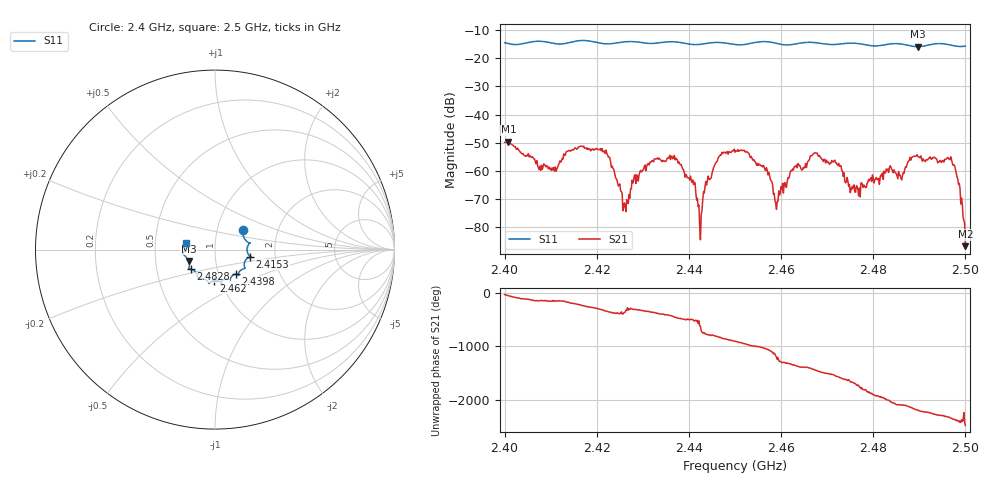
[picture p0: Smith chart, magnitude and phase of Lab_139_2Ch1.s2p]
# Hz S RI R 50
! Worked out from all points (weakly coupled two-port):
!   601 points, 2.4 GHz to 2.5 GHz, reference 50 ohm
!   highest |S21| = -49.60 dB at 2.4008 GHz (marker M1); lowest = -86.7 dB at 2.5 GHz (marker M2)
!   lowest |S11| = -15.9 dB at 2.4897 GHz (marker M3), VSWR 1.38, Z = 36.9 - j4.82 ohm
!   |S11| at or under -10 dB: start of sweep to end of sweep
!   S12 and S22 are empty: the file has one direction only
!   S11 on the Smith chart (normalised r, x): 2.4 GHz: 1.33, +0.30; 2.4153 GHz: 1.48, -0.12; 2.4398 GHz: 1.21, -0.34; 2.462 GHz: 0.93, -0.33; 2.4828 GHz: 0.74, -0.17; 2.5 GHz: 0.72, +0.06
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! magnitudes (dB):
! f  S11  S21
! 2.4 GHz  -14.5  -49.9
! 2.4008 GHz  -14.8  -49.6
! 2.4103 GHz  -14.7  -58.9
! 2.4153 GHz  -14.0  -51.8
! 2.4167 GHz  -13.7  -51.2
! 2.4223 GHz  -14.9  -54.3
! 2.4262 GHz  -14.2  -72.5
! 2.4333 GHz  -14.6  -55.9
! 2.4398 GHz  -15.0  -62.5
! 2.4425 GHz  -15.1  -84.4
! 2.4462 GHz  -14.4  -56.5
! 2.45 GHz  -15.1  -53.4
! 2.4565 GHz  -14.1  -59.6
! 2.4588 GHz  -14.7  -71.5
! 2.462 GHz  -15.2  -60.3
! 2.4667 GHz  -14.4  -54.6
! 2.4767 GHz  -14.8  -66.5
! 2.4828 GHz  -15.2  -59.3
! 2.4833 GHz  -15.0  -60.6
! 2.4897 GHz  -15.9  -54.8
! 2.4972 GHz  -15.5  -57.3
! 2.5 GHz  -15.7  -86.7
